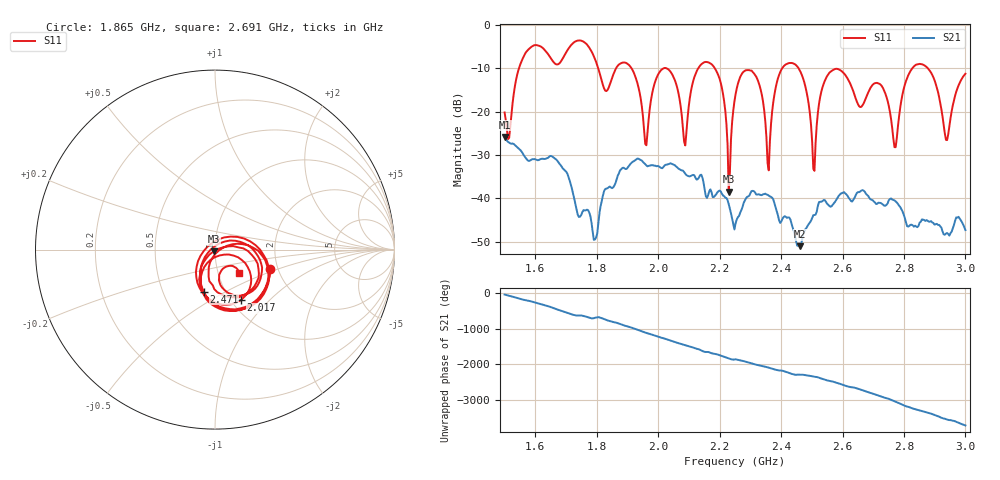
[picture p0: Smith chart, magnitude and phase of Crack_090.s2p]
# HZ S RI R 50
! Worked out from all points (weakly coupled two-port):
!   404 points, 1.5 GHz to 3 GHz, reference 50 ohm
!   highest |S21| = -25.82 dB at 1.5 GHz (marker M1); lowest = -51.0 dB at 2.46 GHz (marker M2)
!   lowest |S11| = -38.5 dB at 2.23 GHz (marker M3), VSWR 1.02, Z = 49.3 - j0.93 ohm
!   |S11| at or under -10 dB: 2.184 GHz to 2.404 GHz (219.4 MHz wide, 9.56 % of centre); 2.457 GHz to 2.827 GHz (370.1 MHz wide, 14 % of centre); 2.878 GHz to end of sweep (the widest 3 of 7)
!   S12 and S22 are empty: the file has one direction only
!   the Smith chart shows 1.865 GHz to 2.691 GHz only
!   S11 on the Smith chart (normalised r, x): 1.865 GHz: 1.82, -0.43; 2.017 GHz: 1.11, -0.69; 2.471 GHz: 0.79, -0.40; 2.691 GHz: 1.26, -0.34
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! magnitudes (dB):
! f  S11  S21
! 1.5 GHz  -20.2  -25.8
! 1.753 GHz  -3.7  -43.2
! 1.865 GHz  -9.7  -35.6
! 1.962 GHz  -27.7  -32.4
! 2.002 GHz  -11.1  -32.6
! 2.017 GHz  -10.0  -32.7
! 2.088 GHz  -27.8  -34.3
! 2.181 GHz  -9.6  -39.7
! 2.23 GHz  -38.5  -41.3
! 2.252 GHz  -16.0  -45.8
! 2.315 GHz  -11.5  -38.6
! 2.36 GHz  -33.5  -39.3
! 2.397 GHz  -10.9  -45.7
! 2.46 GHz  -10.4  -51.0
! 2.471 GHz  -12.3  -48.3
! 2.501 GHz  -27.0  -44.5
! 2.561 GHz  -10.8  -41.9
! 2.691 GHz  -14.5  -40.2
! 2.751 GHz  -18.7  -40.4
! 2.862 GHz  -9.2  -44.9
! 2.94 GHz  -26.6  -48.0
! 3 GHz  -11.3  -47.3
